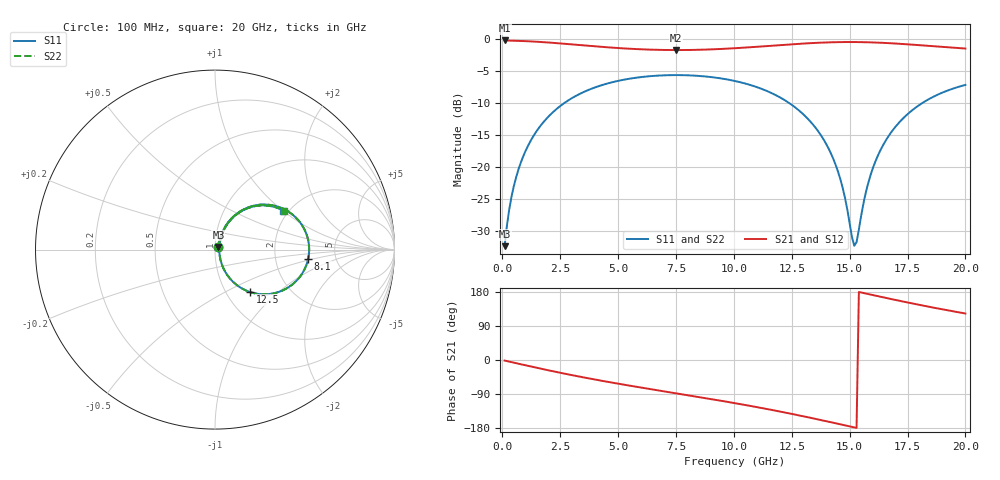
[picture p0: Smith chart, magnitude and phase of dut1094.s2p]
! Touchstone file exported from HFSS 2026.1.0
!  File:  C:/ffzhzh/LocalFiles/Ansys_Project_Files/temp_train_TSV_RDL_1094_1783302254_30076.aedt
!  Generated:  09:55:54 AM Jul  6, 2026
!  Design:  TSV_RDL
!  Project:  temp_train_TSV_RDL_1094_1783302254_30076
! Variables:
!  h_bsmrdl = 4.13um
!  h_ox = 20um
!  h_rdl = 5um
!  h_sub = 50.07um
!  h_tmrdl = 4.23um
!  h_tsv = 50.07um
!  h_via = 3um
!  l_bsmrdl = 683.33um
!  l_sub = 4211.77um
!  l_tmrdl = 405um
!  m_sub = 200um
!  pitch = 47.52um
!  r_tsv = 2.81um
!  s_tmrdl = 10um
!  w_bsmrdl = 25.22um
!  w_sub = 500um
!  w_tmrdl = 22.04um
!  x_tsv_center1 = 416.02um
!  x_tsv_center2 = 1124.57um
!  x_tsv_center3 = 1551.61um
!  x_tsv_center4 = 2260.16um
!  x_tsv_center5 = 2687.2um
!  x_tsv_center6 = 3395.75um
# GHz S MA R 50.000000
! Terminal data exported
! Port[1] = TM_RDL1_1_T1
! Port[2] = TM_RDL5_1_T1
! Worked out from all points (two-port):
!   200 points, 100 MHz to 20 GHz, reference 50 ohm
!   highest |S21| = -0.17 dB at 100 MHz (marker M1); lowest = -1.7 dB at 7.5 GHz (marker M2)
!   |S21| within 3 dB of the highest: start of sweep to end of sweep
!   lowest |S11| = -32.5 dB at 100 MHz (marker M3), VSWR 1.05, Z = 51.9 + j1.45 ohm
!   |S11| at or under -10 dB: start of sweep to 2.674 GHz; 12.39 GHz to 18.13 GHz (5.741 GHz wide, 37.6 % of centre)
!   |S22| runs from -32.5 to -5.6 dB; largest |S21 - S12| = 1.7e-14
!   S11 on the Smith chart (normalised r, x): 100 MHz: 1.04, +0.03; 8.1 GHz: 3.12, -0.43; 12.5 GHz: 1.29, -0.67; 20 GHz: 1.88, +1.01
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0.1  0.02383 35.9  0.981 -1.5  0.981 -1.5  0.02383 35.9
! Gamma 0 0 0 0
! Port Impedance 50 0 50 0
0.3  0.04635 59.4  0.9786 -4.3  0.9786 -4.3  0.04635 59.4
0.5  0.07077 65.2  0.9763 -7.1  0.9763 -7.1  0.07077 65.2
1.1  0.1449 65.8  0.9672 -15.3  0.9672 -15.3  0.1449 65.8
2.1  0.2593 56.2  0.9422 -28.6  0.9422 -28.6  0.2593 56.2
3.5  0.3853 40.5  0.8977 -45.8  0.8977 -45.8  0.3853 40.5
6.8  0.5206 6.9  0.8273 -80.9  0.8273 -80.9  0.5207 6.9
7.5  0.5247 0.2  0.8247 -87.9  0.8247 -87.9  0.5247 0.2
8.1  0.5218 -5.5  0.8261 -93.8  0.8261 -93.8  0.5219 -5.5
10.1  0.4691 -25.1  0.8536 -114.5  0.8536 -114.5  0.4692 -25.1
12.5  0.3065 -50.5  0.9154 -142.2  0.9154 -142.2  0.3066 -50.5
13.4  0.2165 -59.8  0.9364 -153.7  0.9364 -153.7  0.2166 -59.8
14  0.1496 -64.7  0.9465 -161.6  0.9465 -161.6  0.1497 -64.6
14.5  0.09152 -65.3  0.9517 -168.4  0.9517 -168.4  0.09159 -65.2
14.8  0.05711 -59.7  0.9532 -172.4  0.9532 -172.4  0.0572 -59.6
15.2  0.02401 -6.4  0.9533 -177.8  0.9533 -177.8  0.02415 -6.5
15.3  0.02562 20.6  0.9529 -179.2  0.9529 -179.2  0.02574 20.4
15.6  0.05185 57.7  0.951 176.7  0.951 176.7  0.05188 57.6
15.9  0.08561 65.0  0.9479 172.7  0.9479 172.7  0.08562 64.9
16.7  0.1762 63.1  0.9344 162.1  0.9344 162.1  0.1762 63.0
18.1  0.3134 49.4  0.8984 144.4  0.8984 144.4  0.3133 49.3
20  0.4393 29.7  0.8476 122.7  0.8476 122.7  0.4392 29.6
